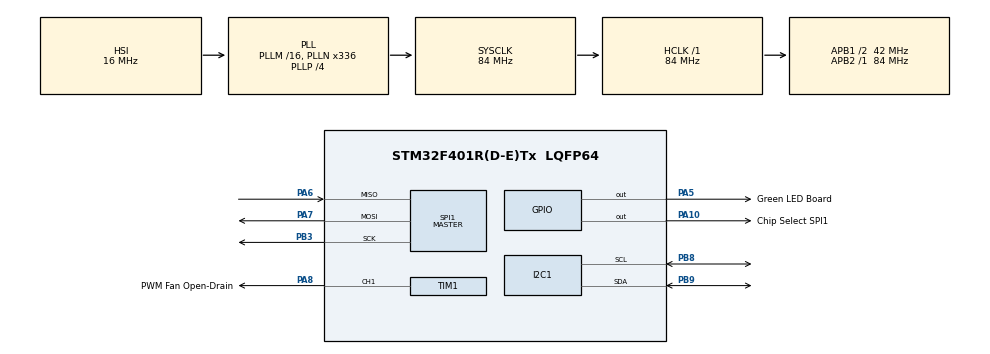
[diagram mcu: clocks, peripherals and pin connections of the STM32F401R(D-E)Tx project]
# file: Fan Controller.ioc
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Mcu.Family=STM32F4
Mcu.Name=STM32F401R(D-E)Tx
Mcu.Package=LQFP64
NVIC.PriorityGroup=NVIC_PRIORITYGROUP_0
PA10.GPIO_Label=Chip Select SPI1
PA10.Signal=GPIO_Output
PA5.GPIO_Label=Green LED Board
PA5.Signal=GPIO_Output
PA6.Mode=Full_Duplex_Master
PA6.Signal=SPI1_MISO
PA7.Mode=Full_Duplex_Master
PA7.Signal=SPI1_MOSI
PA8.GPIO_Label=PWM Fan Open-Drain
PA8.GPIO_ModeDefaultPP=GPIO_MODE_AF_OD
PA8.Signal=S_TIM1_CH1
PB3.Mode=Full_Duplex_Master
PB3.Signal=SPI1_SCK
PB8.Mode=I2C
PB8.Signal=I2C1_SCL
PB9.Mode=I2C
PB9.Signal=I2C1_SDA
ProjectManager.HeapSize=0x200
ProjectManager.StackSize=0x400
ProjectManager.TargetToolchain=TrueSTUDIO
RCC.48MHZClocksFreq_Value=48000000
RCC.AHBFreq_Value=84000000
RCC.APB1CLKDivider=RCC_HCLK_DIV2
RCC.APB1Freq_Value=42000000
RCC.APB1TimFreq_Value=84000000
RCC.APB2Freq_Value=84000000
RCC.APB2TimFreq_Value=84000000
RCC.CortexFreq_Value=84000000
RCC.HCLKFreq_Value=84000000
RCC.HSE_VALUE=8000000
RCC.HSI_VALUE=16000000
RCC.LSE_VALUE=32768
RCC.PLLN=336
RCC.PLLP=RCC_PLLP_DIV4
RCC.PLLQ=7
RCC.SYSCLKFreq_VALUE=84000000
RCC.SYSCLKSource=RCC_SYSCLKSOURCE_PLLCLK
RCC.VCOOutputFreq_Value=336000000
SH.S_TIM1_CH1.0=TIM1_CH1,PWM Generation1 CH1
SPI1.BaudRatePrescaler=SPI_BAUDRATEPRESCALER_32
SPI1.Direction=SPI_DIRECTION_2LINES
SPI1.Mode=SPI_MODE_MASTER
SPI1.VirtualType=VM_MASTER
TIM1.Channel-PWM\ Generation1\ CH1=TIM_CHANNEL_1
TIM1.Period=40
TIM1.Prescaler=84
TIM1.Pulse-PWM\ Generation1\ CH1=0
VP_TIM1_VS_ClockSourceINT.Mode=Internal
board=NUCLEO-F401RE

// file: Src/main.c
/* USER CODE BEGIN Header */
/**
  ******************************************************************************
  * @file           : main.c
  * @brief          : Main program body
  ******************************************************************************
  * @attention
  *
  * <h2><center>&copy; Copyright (c) 2019 STMicroelectronics.
  * All rights reserved.</center></h2>
  *
  * This software component is licensed by ST under BSD 3-Clause license,
  * the "License"; You may not use this file except in compliance with the
  * License. You may obtain a copy of the License at:
  *                        opensource.org/licenses/BSD-3-Clause
  *
  ******************************************************************************
  */
/* USER CODE END Header */

#include "main.h"

/* USER CODE BEGIN Includes */
#include "MCP23017_LCD1602A/LCD16X2.h"
#include "MCP3008/MCP3008.h"
#include "CControl/Headers/Configurations.h"
#include "CControl/Headers/Functions.h"

/* USER CODE END Includes */

/* USER CODE BEGIN PD */
#define MCP2307_ADDRESS 0x40
#define MCP2307_TRAILS 5
#define MCP2307_TIMEOUT 10

/* USER CODE END PD */

I2C_HandleTypeDef hi2c1;

SPI_HandleTypeDef hspi1;

TIM_HandleTypeDef htim1;

void SystemClock_Config(void);
static void MX_GPIO_Init(void);
static void MX_I2C1_Init(void);
static void MX_SPI1_Init(void);
static void MX_TIM1_Init(void);

int main(void)
{

  /* MCU Configuration--------------------------------------------------------*/

  /* Reset of all peripherals, Initializes the Flash interface and the Systick. */
  HAL_Init();

  /* Configure the system clock */
  SystemClock_Config();

  /* Initialize all configured peripherals */
  MX_GPIO_Init();
  MX_I2C1_Init();
  MX_SPI1_Init();
  MX_TIM1_Init();
  /* USER CODE BEGIN 2 */

  // Init the LCD
  LCD1602_mcp23017(hi2c1, MCP2307_ADDRESS, MCP2307_TRAILS, MCP2307_TIMEOUT, GPIOA, GPIO_PIN_5);
  LCD1602_Begin8BIT();
  LCD1602_noCursor();
  LCD1602_noBlink();

  LCD1602_print("LQI-Controller");
  LCD1602_2ndLine();

  // Init the MCP3008
  MCP3008_Init(hspi1, GPIOA, GPIO_PIN_10);

  // Init the PWM
  HAL_TIM_PWM_Start(&htim1, TIM_CHANNEL_1);

  /* USER CODE END 2 */
  // Buffer for LCD
  char lcd_Text[16] = { 0 }; // Message

  // Calibrate temperature sensor MPC9700A
  float max_adc = 1023.0; // Maximum ADC value
  float V33 = 3.3; // MCP9700A voltage Vdd
  float m = 0.5; // Voltage when temperature is 0
  float k = (1.5 - 0.5) / (100.0 - 0.0); // Slope for MCP9700A

    // Model A, B, C, D
  float A[ADIM * ADIM] = { 0.99500201,  -0.00656006,  -0.00324621,   0.00284745,   0.00474606,   0.00299756,   0.00053557,   0.00510325,   0.00195878,   0.00103930,
    					   0.00656006,   0.99283815,  -0.02960128,   0.00526632,   0.01514675,   0.00524905,   0.01298864,   0.00695144,   0.01129487,   0.00493022,
    					  -0.00324621,   0.02960128,   0.99274160,   0.02925795,   0.03278408,   0.02712715,  -0.01623747,   0.03996273,   0.00092537,   0.00275946,
    					  -0.00284745,   0.00526632,  -0.02925795,   0.98010080,  -0.11692287,   0.00548336,  -0.13731362,   0.00838655,  -0.02404120,  -0.00952090,
    					   0.00474606,  -0.01514675,   0.03278408,   0.11692287,   0.13819930,  -0.75274525,   0.61524332,  -0.08864197,   0.03148846,   0.01481154,
    					  -0.00299756,   0.00524905,  -0.02712715,   0.00548336,   0.75274525,  -0.33361173,  -0.56018800,   0.01121465,  -0.02978725,  -0.00793863,
    					   0.00053557,  -0.01298864,  -0.01623747,   0.13731362,   0.61524332,   0.56018800,   0.49924238,  -0.16479061,  -0.02304370,  -0.00928901,
    					  -0.00510325,   0.00695144,  -0.03996273,   0.00838655,   0.08864197,   0.01121465,   0.16479061,   0.95896684,  -0.09604525,  -0.03548706,
    					   0.00195878,  -0.01129487,   0.00092537,   0.02404120,   0.03148846,   0.02978725,  -0.02304370,   0.09604525,   0.77327414,   0.61147580,
    					  -0.00103930,   0.00493022,  -0.00275946,  -0.00952090,  -0.01481154,  -0.00793863,   0.00928901,  -0.03548706,  -0.61147580,   0.78960433};
  float B[ADIM * RDIM] ={ -0.473079,
    					   0.246331,
    					  -0.174253,
    					  -0.121266,
    					   0.218141,
    					  -0.127719,
    					   0.051346,
    					  -0.214983,
    					   0.105775,
    					  -0.055904};
  float C[YDIM * ADIM] = {-0.0126102,  -0.0065661,  -0.0046448,   0.0032324,   0.0058147,   0.0034044,   0.0013687,   0.0057305,   0.0028195,   0.0014901};

  // Kalman steady state matrix K
  float K[ADIM * YDIM] = {-0.605326,
    					  -0.304048,
    					  -0.326261,
    					  -0.011849,
    					  -0.055601,
    					   0.171333,
    					   0.392499,
    					   0.167388,
    					   0.268947,
    					   0.014662};

  // Control law L
  float L[RDIM * ADIM] = {-0.748569,   0.336152,  -0.236959,  -0.072548,  -0.077530,  -0.558029,   0.771664,   0.406676,   0.483614,  -0.698279};

  // Integral law Li
  float Li[RDIM * 1] = {0.39778};

  // Initial states - Normally set to zero
  float x[ADIM * 1] = {0};
  float xi[RDIM * 1] = {0};

  //  Input signal, reference signal, output signal and state vector x and xi
  float qi = 0.5;		 // <-- Tune this in between 0->1, but qi =/= 1.
  float u[RDIM * 1] = {0}; // <-- This is our input value we want to have
  float r[RDIM * 1] = {25}; // <-- This is what we want to see.
  float y[YDIM * 1] = {0}; // <-- This is our measurement. Set it.

  /*
   * Anti-windup
   * 0 = Integrate xi when r < y and r > y
   * 1 = Delete xi when r < y, else integrate when r > y
   * 2 = Only integrate xi when r < y, but stop integrate when r > y
   */
  int anti_windup = 1;

  /* Infinite loop */
  while (1)
  {
	  // Read the potentiometer - 0 to 100
	  uint16_t adc0 = MCP3008_Read_Channel(1);
	  uint8_t reference = ((float) adc0) / 1023.0 * 100;

	  // Read the temperature sensor
	  uint16_t adc1 = MCP3008_Read_Channel(0);
	  float temperature = (((float) adc1) / max_adc * V33 - m) / k;
	  uint8_t temp_first = (uint8_t) temperature;
	  uint8_t temp_decimal = (uint8_t) ((temperature - ((float) temp_first)) * 100.0);

	  // Print out on LCD
	  sprintf(lcd_Text, "Ref:%d T:%d.%d  ", reference, temp_first, temp_decimal); // Important with 2 spaces at the end
	  LCD1602_setCursor(2, 1);
	  LCD1602_print(lcd_Text);

	  // Set reference from potentiometer and the temperature from MCP9700A
	  r[0] = (float) (reference);
	  y[0] = temperature;

	  // Compute the Linear Quadratic Integral control and reciuve the output u
	  lqi(y, u, qi, r, L, Li, x, xi, anti_windup);

	  // Estimate the state vector x
	  kalman(A, B, C, K, u, x, y);

	  // Do saturation where the input u[0] cannot be lower than 0 and greater than 100
	  saturation(&u[0], 0, 100);

	  // Change the speed of the fan
	  uint32_t output = (uint32_t) u[0]; //reference * 0.4; // 0.4 is a tuning parameter for the potentiometer
	  htim1.Instance->CCR1 = output;

  }
}

void SystemClock_Config(void)
{
  RCC_OscInitTypeDef RCC_OscInitStruct = {0};
  RCC_ClkInitTypeDef RCC_ClkInitStruct = {0};

  /** Configure the main internal regulator output voltage
  */
  __HAL_RCC_PWR_CLK_ENABLE();
  __HAL_PWR_VOLTAGESCALING_CONFIG(PWR_REGULATOR_VOLTAGE_SCALE2);
  /** Initializes the CPU, AHB and APB busses clocks
  */
  RCC_OscInitStruct.OscillatorType = RCC_OSCILLATORTYPE_HSI;
  RCC_OscInitStruct.HSIState = RCC_HSI_ON;
  RCC_OscInitStruct.HSICalibrationValue = RCC_HSICALIBRATION_DEFAULT;
  RCC_OscInitStruct.PLL.PLLState = RCC_PLL_ON;
  RCC_OscInitStruct.PLL.PLLSource = RCC_PLLSOURCE_HSI;
  RCC_OscInitStruct.PLL.PLLM = 16;
  RCC_OscInitStruct.PLL.PLLN = 336;
  RCC_OscInitStruct.PLL.PLLP = RCC_PLLP_DIV4;
  RCC_OscInitStruct.PLL.PLLQ = 7;
  if (HAL_RCC_OscConfig(&RCC_OscInitStruct) != HAL_OK)
  {
    Error_Handler();
  }
  /** Initializes the CPU, AHB and APB busses clocks
  */
  RCC_ClkInitStruct.ClockType = RCC_CLOCKTYPE_HCLK|RCC_CLOCKTYPE_SYSCLK
                              |RCC_CLOCKTYPE_PCLK1|RCC_CLOCKTYPE_PCLK2;
  RCC_ClkInitStruct.SYSCLKSource = RCC_SYSCLKSOURCE_PLLCLK;
  RCC_ClkInitStruct.AHBCLKDivider = RCC_SYSCLK_DIV1;
  RCC_ClkInitStruct.APB1CLKDivider = RCC_HCLK_DIV2;
  RCC_ClkInitStruct.APB2CLKDivider = RCC_HCLK_DIV1;

  if (HAL_RCC_ClockConfig(&RCC_ClkInitStruct, FLASH_LATENCY_2) != HAL_OK)
  {
    Error_Handler();
  }
}

static void MX_I2C1_Init(void)
{

  hi2c1.Instance = I2C1;
  hi2c1.Init.ClockSpeed = 100000;
  hi2c1.Init.DutyCycle = I2C_DUTYCYCLE_2;
  hi2c1.Init.OwnAddress1 = 0;
  hi2c1.Init.AddressingMode = I2C_ADDRESSINGMODE_7BIT;
  hi2c1.Init.DualAddressMode = I2C_DUALADDRESS_DISABLE;
  hi2c1.Init.OwnAddress2 = 0;
  hi2c1.Init.GeneralCallMode = I2C_GENERALCALL_DISABLE;
  hi2c1.Init.NoStretchMode = I2C_NOSTRETCH_DISABLE;
  if (HAL_I2C_Init(&hi2c1) != HAL_OK)
  {
    Error_Handler();
  }

}

static void MX_SPI1_Init(void)
{

  /* SPI1 parameter configuration*/
  hspi1.Instance = SPI1;
  hspi1.Init.Mode = SPI_MODE_MASTER;
  hspi1.Init.Direction = SPI_DIRECTION_2LINES;
  hspi1.Init.DataSize = SPI_DATASIZE_8BIT;
  hspi1.Init.CLKPolarity = SPI_POLARITY_LOW;
  hspi1.Init.CLKPhase = SPI_PHASE_1EDGE;
  hspi1.Init.NSS = SPI_NSS_SOFT;
  hspi1.Init.BaudRatePrescaler = SPI_BAUDRATEPRESCALER_32;
  hspi1.Init.FirstBit = SPI_FIRSTBIT_MSB;
  hspi1.Init.TIMode = SPI_TIMODE_DISABLE;
  hspi1.Init.CRCCalculation = SPI_CRCCALCULATION_DISABLE;
  hspi1.Init.CRCPolynomial = 10;
  if (HAL_SPI_Init(&hspi1) != HAL_OK)
  {
    Error_Handler();
  }

}

static void MX_TIM1_Init(void)
{

  TIM_ClockConfigTypeDef sClockSourceConfig = {0};
  TIM_MasterConfigTypeDef sMasterConfig = {0};
  TIM_OC_InitTypeDef sConfigOC = {0};
  TIM_BreakDeadTimeConfigTypeDef sBreakDeadTimeConfig = {0};

  htim1.Instance = TIM1;
  htim1.Init.Prescaler = 84;
  htim1.Init.CounterMode = TIM_COUNTERMODE_UP;
  htim1.Init.Period = 40;
  htim1.Init.ClockDivision = TIM_CLOCKDIVISION_DIV1;
  htim1.Init.RepetitionCounter = 0;
  htim1.Init.AutoReloadPreload = TIM_AUTORELOAD_PRELOAD_DISABLE;
  if (HAL_TIM_Base_Init(&htim1) != HAL_OK)
  {
    Error_Handler();
  }
  sClockSourceConfig.ClockSource = TIM_CLOCKSOURCE_INTERNAL;
  if (HAL_TIM_ConfigClockSource(&htim1, &sClockSourceConfig) != HAL_OK)
  {
    Error_Handler();
  }
  if (HAL_TIM_PWM_Init(&htim1) != HAL_OK)
  {
    Error_Handler();
  }
  sMasterConfig.MasterOutputTrigger = TIM_TRGO_RESET;
  sMasterConfig.MasterSlaveMode = TIM_MASTERSLAVEMODE_DISABLE;
  if (HAL_TIMEx_MasterConfigSynchronization(&htim1, &sMasterConfig) != HAL_OK)
  {
    Error_Handler();
  }
  sConfigOC.OCMode = TIM_OCMODE_PWM1;
  sConfigOC.Pulse = 0;
  sConfigOC.OCPolarity = TIM_OCPOLARITY_HIGH;
  sConfigOC.OCNPolarity = TIM_OCNPOLARITY_HIGH;
  sConfigOC.OCFastMode = TIM_OCFAST_DISABLE;
  sConfigOC.OCIdleState = TIM_OCIDLESTATE_RESET;
  sConfigOC.OCNIdleState = TIM_OCNIDLESTATE_RESET;
  if (HAL_TIM_PWM_ConfigChannel(&htim1, &sConfigOC, TIM_CHANNEL_1) != HAL_OK)
  {
    Error_Handler();
  }
  sBreakDeadTimeConfig.OffStateRunMode = TIM_OSSR_DISABLE;
  sBreakDeadTimeConfig.OffStateIDLEMode = TIM_OSSI_DISABLE;
  sBreakDeadTimeConfig.LockLevel = TIM_LOCKLEVEL_OFF;
  sBreakDeadTimeConfig.DeadTime = 0;
  sBreakDeadTimeConfig.BreakState = TIM_BREAK_DISABLE;
  sBreakDeadTimeConfig.BreakPolarity = TIM_BREAKPOLARITY_HIGH;
  sBreakDeadTimeConfig.AutomaticOutput = TIM_AUTOMATICOUTPUT_DISABLE;
  if (HAL_TIMEx_ConfigBreakDeadTime(&htim1, &sBreakDeadTimeConfig) != HAL_OK)
  {
    Error_Handler();
  }
  HAL_TIM_MspPostInit(&htim1);

}

static void MX_GPIO_Init(void)
{
  GPIO_InitTypeDef GPIO_InitStruct = {0};

  /* GPIO Ports Clock Enable */
  __HAL_RCC_GPIOA_CLK_ENABLE();
  __HAL_RCC_GPIOB_CLK_ENABLE();

  /*Configure GPIO pin Output Level */
  HAL_GPIO_WritePin(GPIOA, Green_LED_Board_Pin|Chip_Select_SPI1_Pin, GPIO_PIN_RESET);

  /*Configure GPIO pins : Green_LED_Board_Pin Chip_Select_SPI1_Pin */
  GPIO_InitStruct.Pin = Green_LED_Board_Pin|Chip_Select_SPI1_Pin;
  GPIO_InitStruct.Mode = GPIO_MODE_OUTPUT_PP;
  GPIO_InitStruct.Pull = GPIO_NOPULL;
  GPIO_InitStruct.Speed = GPIO_SPEED_FREQ_LOW;
  HAL_GPIO_Init(GPIOA, &GPIO_InitStruct);

}

void Error_Handler(void)
{
}

/************************ (C) COPYRIGHT STMicroelectronics *****END OF FILE****/
